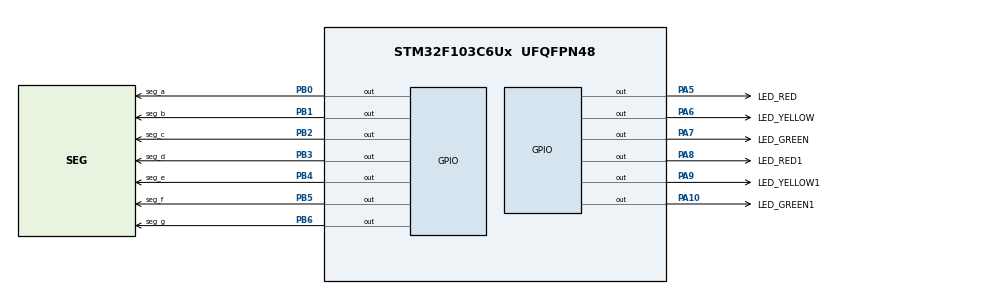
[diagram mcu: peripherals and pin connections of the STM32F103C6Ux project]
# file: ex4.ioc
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Mcu.Family=STM32F1
Mcu.Name=STM32F103C6Ux
Mcu.Package=UFQFPN48
NVIC.PriorityGroup=NVIC_PRIORITYGROUP_4
PA10.GPIO_Label=LED_GREEN1
PA10.Signal=GPIO_Output
PA5.GPIO_Label=LED_RED
PA5.Signal=GPIO_Output
PA6.GPIO_Label=LED_YELLOW
PA6.Signal=GPIO_Output
PA7.GPIO_Label=LED_GREEN
PA7.Signal=GPIO_Output
PA8.GPIO_Label=LED_RED1
PA8.Signal=GPIO_Output
PA9.GPIO_Label=LED_YELLOW1
PA9.Signal=GPIO_Output
PB0.GPIO_Label=seg_a
PB0.Signal=GPIO_Output
PB1.GPIO_Label=seg_b
PB1.Signal=GPIO_Output
PB2.GPIO_Label=seg_c
PB2.Signal=GPIO_Output
PB3.GPIO_Label=seg_d
PB3.Signal=GPIO_Output
PB4.GPIO_Label=seg_e
PB4.Signal=GPIO_Output
PB5.GPIO_Label=seg_f
PB5.Signal=GPIO_Output
PB6.GPIO_Label=seg_g
PB6.Signal=GPIO_Output
ProjectManager.HeapSize=0x200
ProjectManager.StackSize=0x400
ProjectManager.TargetToolchain=STM32CubeIDE
RCC.APB1Freq_Value=8000000
RCC.APB2Freq_Value=8000000
VP_SYS_VS_ND.Mode=No_Debug
board=custom

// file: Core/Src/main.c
/* USER CODE BEGIN Header */
/**
  ******************************************************************************
  * @file           : main.c
  * @brief          : Main program body
  ******************************************************************************
  * @attention
  *
  * <h2><center>&copy; Copyright (c) 2025 STMicroelectronics.
  * All rights reserved.</center></h2>
  *
  * This software component is licensed by ST under BSD 3-Clause license,
  * the "License"; You may not use this file except in compliance with the
  * License. You may obtain a copy of the License at:
  *                        opensource.org/licenses/BSD-3-Clause
  *
  ******************************************************************************
  */
/* USER CODE END Header */
#include "main.h"

void SystemClock_Config(void);
static void MX_GPIO_Init(void);

int main(void)
{

  /* MCU Configuration--------------------------------------------------------*/

  /* Reset of all peripherals, Initializes the Flash interface and the Systick. */
  HAL_Init();

  /* Configure the system clock */
  SystemClock_Config();

  /* Initialize all configured peripherals */
  MX_GPIO_Init();
  /* USER CODE BEGIN 2 */
  int counter = 0;
  void display7SEG(int num) {
      // First, turn all off
      HAL_GPIO_WritePin(seg_a_GPIO_Port, seg_a_Pin, GPIO_PIN_SET);
      HAL_GPIO_WritePin(seg_b_GPIO_Port, seg_b_Pin, GPIO_PIN_SET);
      HAL_GPIO_WritePin(seg_c_GPIO_Port, seg_c_Pin, GPIO_PIN_SET);
      HAL_GPIO_WritePin(seg_d_GPIO_Port, seg_d_Pin, GPIO_PIN_SET);
      HAL_GPIO_WritePin(seg_e_GPIO_Port, seg_e_Pin, GPIO_PIN_SET);
      HAL_GPIO_WritePin(seg_f_GPIO_Port, seg_f_Pin, GPIO_PIN_SET);
      HAL_GPIO_WritePin(seg_g_GPIO_Port, seg_g_Pin, GPIO_PIN_SET);

      switch (num) {
          case 0:
              HAL_GPIO_WritePin(seg_a_GPIO_Port, seg_a_Pin, GPIO_PIN_RESET);
              HAL_GPIO_WritePin(seg_b_GPIO_Port, seg_b_Pin, GPIO_PIN_RESET);
              HAL_GPIO_WritePin(seg_c_GPIO_Port, seg_c_Pin, GPIO_PIN_RESET);
              HAL_GPIO_WritePin(seg_d_GPIO_Port, seg_d_Pin, GPIO_PIN_RESET);
              HAL_GPIO_WritePin(seg_e_GPIO_Port, seg_e_Pin, GPIO_PIN_RESET);
              HAL_GPIO_WritePin(seg_f_GPIO_Port, seg_f_Pin, GPIO_PIN_RESET);
              break;
          case 1:
              HAL_GPIO_WritePin(seg_b_GPIO_Port, seg_b_Pin, GPIO_PIN_RESET);
              HAL_GPIO_WritePin(seg_c_GPIO_Port, seg_c_Pin, GPIO_PIN_RESET);
              break;
          case 2:
              HAL_GPIO_WritePin(seg_a_GPIO_Port, seg_a_Pin, GPIO_PIN_RESET);
              HAL_GPIO_WritePin(seg_b_GPIO_Port, seg_b_Pin, GPIO_PIN_RESET);
              HAL_GPIO_WritePin(seg_d_GPIO_Port, seg_d_Pin, GPIO_PIN_RESET);
              HAL_GPIO_WritePin(seg_e_GPIO_Port, seg_e_Pin, GPIO_PIN_RESET);
              HAL_GPIO_WritePin(seg_g_GPIO_Port, seg_g_Pin, GPIO_PIN_RESET);
              break;
          case 3:
              HAL_GPIO_WritePin(seg_a_GPIO_Port, seg_a_Pin, GPIO_PIN_RESET);
              HAL_GPIO_WritePin(seg_b_GPIO_Port, seg_b_Pin, GPIO_PIN_RESET);
              HAL_GPIO_WritePin(seg_c_GPIO_Port, seg_c_Pin, GPIO_PIN_RESET);
              HAL_GPIO_WritePin(seg_d_GPIO_Port, seg_d_Pin, GPIO_PIN_RESET);
              HAL_GPIO_WritePin(seg_g_GPIO_Port, seg_g_Pin, GPIO_PIN_RESET);
              break;
          case 4:
              HAL_GPIO_WritePin(seg_b_GPIO_Port, seg_b_Pin, GPIO_PIN_RESET);
              HAL_GPIO_WritePin(seg_c_GPIO_Port, seg_c_Pin, GPIO_PIN_RESET);
              HAL_GPIO_WritePin(seg_f_GPIO_Port, seg_f_Pin, GPIO_PIN_RESET);
              HAL_GPIO_WritePin(seg_g_GPIO_Port, seg_g_Pin, GPIO_PIN_RESET);
              break;
          case 5:
              HAL_GPIO_WritePin(seg_a_GPIO_Port, seg_a_Pin, GPIO_PIN_RESET);
              HAL_GPIO_WritePin(seg_c_GPIO_Port, seg_c_Pin, GPIO_PIN_RESET);
              HAL_GPIO_WritePin(seg_d_GPIO_Port, seg_d_Pin, GPIO_PIN_RESET);
              HAL_GPIO_WritePin(seg_f_GPIO_Port, seg_f_Pin, GPIO_PIN_RESET);
              HAL_GPIO_WritePin(seg_g_GPIO_Port, seg_g_Pin, GPIO_PIN_RESET);
              break;
          case 6:
              HAL_GPIO_WritePin(seg_a_GPIO_Port, seg_a_Pin, GPIO_PIN_RESET);
              HAL_GPIO_WritePin(seg_c_GPIO_Port, seg_c_Pin, GPIO_PIN_RESET);
              HAL_GPIO_WritePin(seg_d_GPIO_Port, seg_d_Pin, GPIO_PIN_RESET);
              HAL_GPIO_WritePin(seg_e_GPIO_Port, seg_e_Pin, GPIO_PIN_RESET);
              HAL_GPIO_WritePin(seg_f_GPIO_Port, seg_f_Pin, GPIO_PIN_RESET);
              HAL_GPIO_WritePin(seg_g_GPIO_Port, seg_g_Pin, GPIO_PIN_RESET);
              break;
          case 7:
              HAL_GPIO_WritePin(seg_a_GPIO_Port, seg_a_Pin, GPIO_PIN_RESET);
              HAL_GPIO_WritePin(seg_b_GPIO_Port, seg_b_Pin, GPIO_PIN_RESET);
              HAL_GPIO_WritePin(seg_c_GPIO_Port, seg_c_Pin, GPIO_PIN_RESET);
              break;
          case 8:
              HAL_GPIO_WritePin(seg_a_GPIO_Port, seg_a_Pin, GPIO_PIN_RESET);
              HAL_GPIO_WritePin(seg_b_GPIO_Port, seg_b_Pin, GPIO_PIN_RESET);
              HAL_GPIO_WritePin(seg_c_GPIO_Port, seg_c_Pin, GPIO_PIN_RESET);
              HAL_GPIO_WritePin(seg_d_GPIO_Port, seg_d_Pin, GPIO_PIN_RESET);
              HAL_GPIO_WritePin(seg_e_GPIO_Port, seg_e_Pin, GPIO_PIN_RESET);
              HAL_GPIO_WritePin(seg_f_GPIO_Port, seg_f_Pin, GPIO_PIN_RESET);
              HAL_GPIO_WritePin(seg_g_GPIO_Port, seg_g_Pin, GPIO_PIN_RESET);
              break;
          case 9:
              HAL_GPIO_WritePin(seg_a_GPIO_Port, seg_a_Pin, GPIO_PIN_RESET);
              HAL_GPIO_WritePin(seg_b_GPIO_Port, seg_b_Pin, GPIO_PIN_RESET);
              HAL_GPIO_WritePin(seg_c_GPIO_Port, seg_c_Pin, GPIO_PIN_RESET);
              HAL_GPIO_WritePin(seg_d_GPIO_Port, seg_d_Pin, GPIO_PIN_RESET);
              HAL_GPIO_WritePin(seg_f_GPIO_Port, seg_f_Pin, GPIO_PIN_RESET);
              HAL_GPIO_WritePin(seg_g_GPIO_Port, seg_g_Pin, GPIO_PIN_RESET);
              break;
      }
  }
  /* USER CODE END 2 */

  /* Infinite loop */
  /* USER CODE BEGIN WHILE */
  while (1)
  {
	  if(counter >= 10) counter = 0;
	  display7SEG(counter++);
      HAL_Delay(1000);

//	  //green1 and red
//	  if(count == 0 || count == 1 || count == 2 || count == 3){
//		  //turn on red and green1
//		  HAL_GPIO_WritePin(LED_RED_GPIO_Port, LED_RED_Pin, GPIO_PIN_RESET);
//		  HAL_GPIO_WritePin(LED_GREEN1_GPIO_Port, LED_GREEN1_Pin, GPIO_PIN_RESET);
//		  //turn off green, yellow, red1, yellow1
//		  HAL_GPIO_WritePin(LED_GREEN_GPIO_Port, LED_GREEN_Pin, GPIO_PIN_SET);
//		  HAL_GPIO_WritePin(LED_YELLOW_GPIO_Port, LED_YELLOW_Pin, GPIO_PIN_SET);
//		  HAL_GPIO_WritePin(LED_RED1_GPIO_Port, LED_RED1_Pin, GPIO_PIN_SET);
//		  HAL_GPIO_WritePin(LED_YELLOW1_GPIO_Port, LED_YELLOW1_Pin, GPIO_PIN_SET);
//		  count++;
//	  }
//
//	  //yellow1 and red
//	  if(count == 4 || count == 5){
//		  //turn on yellow1
//		  HAL_GPIO_WritePin(LED_YELLOW1_GPIO_Port, LED_YELLOW1_Pin, GPIO_PIN_RESET);
//		  //turn off green1
//		  HAL_GPIO_WritePin(LED_GREEN1_GPIO_Port, LED_GREEN1_Pin, GPIO_PIN_SET);
//		  count++;
//	  }
//
//	  //green and red1
//	  if(count == 6  || count == 7 || count == 8){
//		  //turn on green, red1
//		  HAL_GPIO_WritePin(LED_GREEN_GPIO_Port, LED_GREEN_Pin, GPIO_PIN_RESET);
//		  HAL_GPIO_WritePin(LED_RED1_GPIO_Port, LED_RED1_Pin, GPIO_PIN_RESET);
//		  //turn off yellow1, red
//		  HAL_GPIO_WritePin(LED_YELLOW1_GPIO_Port, LED_YELLOW1_Pin, GPIO_PIN_SET);
//		  HAL_GPIO_WritePin(LED_RED_GPIO_Port, LED_RED_Pin, GPIO_PIN_SET);
//		  count++;
//	  }
//
//	  //yellow and red1
//	  if(count == 9 || count == 10){
//		  //turn on yellow
//		  HAL_GPIO_WritePin(LED_YELLOW_GPIO_Port, LED_YELLOW_Pin, GPIO_PIN_RESET);
//		  //turn off greeen
//		  HAL_GPIO_WritePin(LED_GREEN_GPIO_Port, LED_GREEN_Pin, GPIO_PIN_SET);
//		  count++;
//	  }
//
//	  if(count == 11){
//		  count = 0;
//	  }

    /* USER CODE END WHILE */

  }
}

void SystemClock_Config(void)
{
  RCC_OscInitTypeDef RCC_OscInitStruct = {0};
  RCC_ClkInitTypeDef RCC_ClkInitStruct = {0};

  /** Initializes the RCC Oscillators according to the specified parameters
  * in the RCC_OscInitTypeDef structure.
  */
  RCC_OscInitStruct.OscillatorType = RCC_OSCILLATORTYPE_HSI;
  RCC_OscInitStruct.HSIState = RCC_HSI_ON;
  RCC_OscInitStruct.HSICalibrationValue = RCC_HSICALIBRATION_DEFAULT;
  RCC_OscInitStruct.PLL.PLLState = RCC_PLL_NONE;
  if (HAL_RCC_OscConfig(&RCC_OscInitStruct) != HAL_OK)
  {
    Error_Handler();
  }
  /** Initializes the CPU, AHB and APB buses clocks
  */
  RCC_ClkInitStruct.ClockType = RCC_CLOCKTYPE_HCLK|RCC_CLOCKTYPE_SYSCLK
                              |RCC_CLOCKTYPE_PCLK1|RCC_CLOCKTYPE_PCLK2;
  RCC_ClkInitStruct.SYSCLKSource = RCC_SYSCLKSOURCE_HSI;
  RCC_ClkInitStruct.AHBCLKDivider = RCC_SYSCLK_DIV1;
  RCC_ClkInitStruct.APB1CLKDivider = RCC_HCLK_DIV1;
  RCC_ClkInitStruct.APB2CLKDivider = RCC_HCLK_DIV1;

  if (HAL_RCC_ClockConfig(&RCC_ClkInitStruct, FLASH_LATENCY_0) != HAL_OK)
  {
    Error_Handler();
  }
}

static void MX_GPIO_Init(void)
{
  GPIO_InitTypeDef GPIO_InitStruct = {0};

  /* GPIO Ports Clock Enable */
  __HAL_RCC_GPIOA_CLK_ENABLE();
  __HAL_RCC_GPIOB_CLK_ENABLE();

  /*Configure GPIO pin Output Level */
  HAL_GPIO_WritePin(GPIOA, LED_RED_Pin|LED_YELLOW_Pin|LED_GREEN_Pin|LED_RED1_Pin
                          |LED_YELLOW1_Pin|LED_GREEN1_Pin, GPIO_PIN_RESET);

  /*Configure GPIO pin Output Level */
  HAL_GPIO_WritePin(GPIOB, seg_a_Pin|seg_b_Pin|seg_c_Pin|seg_d_Pin
                          |seg_e_Pin|seg_f_Pin|seg_g_Pin, GPIO_PIN_RESET);

  /*Configure GPIO pins : LED_RED_Pin LED_YELLOW_Pin LED_GREEN_Pin LED_RED1_Pin
                           LED_YELLOW1_Pin LED_GREEN1_Pin */
  GPIO_InitStruct.Pin = LED_RED_Pin|LED_YELLOW_Pin|LED_GREEN_Pin|LED_RED1_Pin
                          |LED_YELLOW1_Pin|LED_GREEN1_Pin;
  GPIO_InitStruct.Mode = GPIO_MODE_OUTPUT_PP;
  GPIO_InitStruct.Pull = GPIO_NOPULL;
  GPIO_InitStruct.Speed = GPIO_SPEED_FREQ_LOW;
  HAL_GPIO_Init(GPIOA, &GPIO_InitStruct);

  /*Configure GPIO pins : seg_a_Pin seg_b_Pin seg_c_Pin seg_d_Pin
                           seg_e_Pin seg_f_Pin seg_g_Pin */
  GPIO_InitStruct.Pin = seg_a_Pin|seg_b_Pin|seg_c_Pin|seg_d_Pin
                          |seg_e_Pin|seg_f_Pin|seg_g_Pin;
  GPIO_InitStruct.Mode = GPIO_MODE_OUTPUT_PP;
  GPIO_InitStruct.Pull = GPIO_NOPULL;
  GPIO_InitStruct.Speed = GPIO_SPEED_FREQ_LOW;
  HAL_GPIO_Init(GPIOB, &GPIO_InitStruct);

}

void Error_Handler(void)
{
  __disable_irq();
  while (1)
  {
  }
}

/************************ (C) COPYRIGHT STMicroelectronics *****END OF FILE****/
